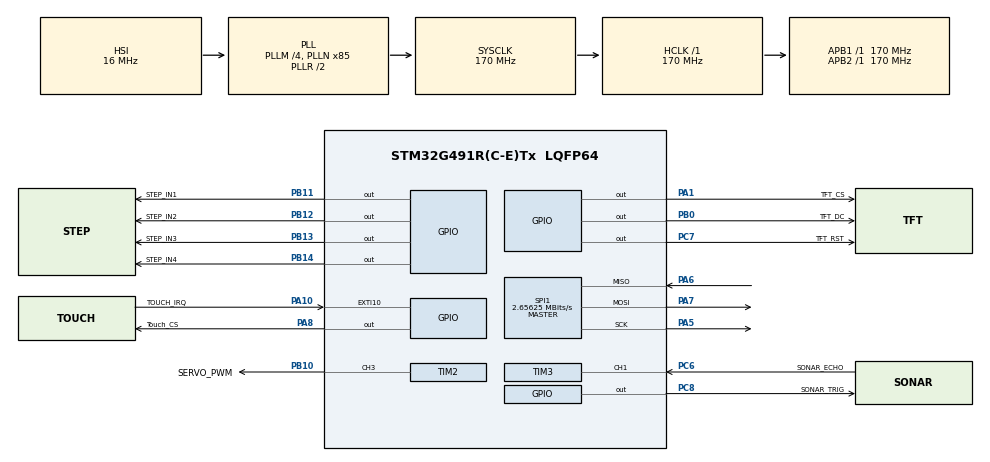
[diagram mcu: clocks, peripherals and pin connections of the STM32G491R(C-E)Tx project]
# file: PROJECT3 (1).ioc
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Dma.Request0=SPI1_TX
Dma.Request1=SPI1_RX
Dma.SPI1_RX.1.Direction=DMA_PERIPH_TO_MEMORY
Dma.SPI1_RX.1.EventEnable=DISABLE
Dma.SPI1_RX.1.Instance=DMA1_Channel2
Dma.SPI1_RX.1.MemDataAlignment=DMA_MDATAALIGN_BYTE
Dma.SPI1_RX.1.MemInc=DMA_MINC_ENABLE
Dma.SPI1_RX.1.Mode=DMA_NORMAL
Dma.SPI1_RX.1.PeriphDataAlignment=DMA_PDATAALIGN_BYTE
Dma.SPI1_RX.1.PeriphInc=DMA_PINC_DISABLE
Dma.SPI1_RX.1.Polarity=HAL_DMAMUX_REQ_GEN_RISING
Dma.SPI1_RX.1.Priority=DMA_PRIORITY_LOW
Dma.SPI1_RX.1.RequestNumber=1
Dma.SPI1_RX.1.SignalID=NONE
Dma.SPI1_RX.1.SyncEnable=DISABLE
Dma.SPI1_RX.1.SyncPolarity=HAL_DMAMUX_SYNC_NO_EVENT
Dma.SPI1_RX.1.SyncRequestNumber=1
Dma.SPI1_RX.1.SyncSignalID=NONE
Dma.SPI1_TX.0.Direction=DMA_MEMORY_TO_PERIPH
Dma.SPI1_TX.0.EventEnable=DISABLE
Dma.SPI1_TX.0.Instance=DMA1_Channel1
Dma.SPI1_TX.0.MemDataAlignment=DMA_MDATAALIGN_BYTE
Dma.SPI1_TX.0.MemInc=DMA_MINC_ENABLE
Dma.SPI1_TX.0.Mode=DMA_NORMAL
Dma.SPI1_TX.0.PeriphDataAlignment=DMA_PDATAALIGN_BYTE
Dma.SPI1_TX.0.PeriphInc=DMA_PINC_DISABLE
Dma.SPI1_TX.0.Polarity=HAL_DMAMUX_REQ_GEN_RISING
Dma.SPI1_TX.0.Priority=DMA_PRIORITY_HIGH
Dma.SPI1_TX.0.RequestNumber=1
Dma.SPI1_TX.0.SignalID=NONE
Dma.SPI1_TX.0.SyncEnable=DISABLE
Dma.SPI1_TX.0.SyncPolarity=HAL_DMAMUX_SYNC_NO_EVENT
Dma.SPI1_TX.0.SyncRequestNumber=1
Dma.SPI1_TX.0.SyncSignalID=NONE
Mcu.Family=STM32G4
Mcu.Name=STM32G491R(C-E)Tx
Mcu.Package=LQFP64
NVIC.DMA1_Channel1_IRQn=true\:0\:0\:false\:false\:true\:false\:true\:true
NVIC.DMA1_Channel2_IRQn=true\:0\:0\:false\:false\:true\:false\:true\:true
NVIC.EXTI15_10_IRQn=true\:0\:0\:false\:false\:true\:true\:true\:true
NVIC.PriorityGroup=NVIC_PRIORITYGROUP_4
NVIC.TIM3_IRQn=true\:0\:0\:false\:false\:true\:true\:true\:true
PA1.GPIO_Label=TFT_CS
PA1.Signal=GPIO_Output
PA10.GPIO_Label=TOUCH_IRQ
PA10.Signal=GPXTI10
PA13.GPIO_Label=T_SWDIO
PA13.Signal=SYS_JTMS-SWDIO
PA14.GPIO_Label=T_SWCLK
PA14.Signal=SYS_JTCK-SWCLK
PA2.GPIO_Label=LPUART1_TX [STLINKV3E_VCP_RX]
PA2.Signal=LPUART1_TX
PA3.GPIO_Label=LPUART1_RX [STLINKV3E_VCP_TX]
PA3.Signal=LPUART1_RX
PA5.Mode=Full_Duplex_Master
PA5.Signal=SPI1_SCK
PA6.Mode=Full_Duplex_Master
PA6.Signal=SPI1_MISO
PA7.Mode=Full_Duplex_Master
PA7.Signal=SPI1_MOSI
PA8.GPIO_Label=Touch_CS
PA8.Signal=GPIO_Output
PB0.GPIO_Label=TFT_DC
PB0.Signal=GPIO_Output
PB10.GPIO_Label=SERVO_PWM
PB10.Signal=S_TIM2_CH3
PB11.GPIO_Label=STEP_IN1
PB11.Signal=GPIO_Output
PB12.GPIO_Label=STEP_IN2
PB12.Signal=GPIO_Output
PB13.GPIO_Label=STEP_IN3
PB13.Signal=GPIO_Output
PB14.GPIO_Label=STEP_IN4
PB14.Signal=GPIO_Output
PB3.GPIO_Label=T_SWO
PB3.Signal=SYS_JTDO-SWO
PC14-OSC32_IN.GPIO_Label=RCC_OSC32_IN
PC14-OSC32_IN.Signal=RCC_OSC32_IN
PC15-OSC32_OUT.GPIO_Label=RCC_OSC32_OUT
PC15-OSC32_OUT.Signal=RCC_OSC32_OUT
PC6.GPIO_Label=SONAR_ECHO
PC6.Signal=S_TIM3_CH1
PC7.GPIO_Label=TFT_RST
PC7.Signal=GPIO_Output
PC8.GPIO_Label=SONAR_TRIG
PC8.Signal=GPIO_Output
PF0-OSC_IN.GPIO_Label=RCC_OSC_IN
PF0-OSC_IN.Signal=RCC_OSC_IN
PF1-OSC_OUT.GPIO_Label=RCC_OSC_OUT
PF1-OSC_OUT.Signal=RCC_OSC_OUT
ProjectManager.HeapSize=0x200
ProjectManager.StackSize=0x400
ProjectManager.TargetToolchain=STM32CubeIDE
RCC.ADC12Freq_Value=170000000
RCC.ADC345Freq_Value=170000000
RCC.AHBFreq_Value=170000000
RCC.APB1Freq_Value=170000000
RCC.APB1TimFreq_Value=170000000
RCC.APB2Freq_Value=170000000
RCC.APB2TimFreq_Value=170000000
RCC.CortexFreq_Value=170000000
RCC.EXTERNAL_CLOCK_VALUE=12288000
RCC.HCLKFreq_Value=170000000
RCC.HSE_VALUE=24000000
RCC.HSI48_VALUE=48000000
RCC.HSI_VALUE=16000000
RCC.LSE_VALUE=32768
RCC.PLLM=RCC_PLLM_DIV4
RCC.PLLN=85
RCC.RTCClockSelection=RCC_RTCCLKSOURCE_LSE
RCC.SYSCLKFreq_VALUE=170000000
RCC.SYSCLKSource=RCC_SYSCLKSOURCE_PLLCLK
RCC.USBFreq_Value=48000000
RCC.VCOOutputFreq_Value=340000000
SH.S_TIM2_CH3.0=TIM2_CH3,PWM Generation3 CH3
SH.S_TIM3_CH1.0=TIM3_CH1,Input_Capture1_from_TI1
SPI1.BaudRatePrescaler=SPI_BAUDRATEPRESCALER_64
SPI1.CalculateBaudRate=2.65625 MBits/s
SPI1.DataSize=SPI_DATASIZE_8BIT
SPI1.Direction=SPI_DIRECTION_2LINES
SPI1.Mode=SPI_MODE_MASTER
SPI1.VirtualType=VM_MASTER
TIM2.Channel-PWM\ Generation3\ CH3=TIM_CHANNEL_3
TIM2.PeriodNoDither=19999
TIM2.Prescaler=169
TIM3.Channel-Input_Capture1_from_TI1=TIM_CHANNEL_1
TIM3.ICPolarity_CH1=TIM_INPUTCHANNELPOLARITY_BOTHEDGE
TIM3.Prescaler=169
VP_SYS_VS_DBSignals.Mode=DisableDeadBatterySignals
VP_TIM2_VS_ClockSourceINT.Mode=Internal
board=NUCLEO-G491RE

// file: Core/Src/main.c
/* USER CODE BEGIN Header */
/**
  ******************************************************************************
  * @file           : main.c
  * @brief          : Main program body
  ******************************************************************************
  * @attention
  *
  * Copyright (c) 2026 STMicroelectronics.
  * All rights reserved.
  *
  * This software is licensed under terms that can be found in the LICENSE file
  * in the root directory of this software component.
  * If no LICENSE file comes with this software, it is provided AS-IS.
  *
  ******************************************************************************
  */
/* USER CODE END Header */
#include "main.h"

/* USER CODE BEGIN Includes */
#include "ili9341.h"
#include "xpt2046.h"
#include "gui_screens.h"
#include "sonar.h"
#include "servo.h"
#include "stepper.h"
/* USER CODE END Includes */

/* USER CODE BEGIN PTD */
typedef struct {
  uint16_t angle;
  int32_t steps;
} CalibrationPoint_t;

typedef struct {
  uint32_t magic;
  uint32_t version;
  GUI_ScanConfig_t config;
  CalibrationPoint_t calibration[3];
  uint32_t checksum;
  uint32_t reserved;
} AppFlashData_t;
/* USER CODE END PTD */

/* USER CODE BEGIN PD */
#define FLASH_CALIB_ADDR       0x0807F800U
#define FLASH_CALIB_PAGE       255U
#define APP_FLASH_MAGIC        0x33505753U
#define APP_FLASH_VERSION      1U
#define GRAPH_TOP              60U
#define GRAPH_HEIGHT           170U
#define GRAPH_WIDTH            320U
#define BAR_WIDTH              10U
#define SCAN_STEP_DEG          5U
#define SONAR_TIMEOUT_MS       45U
#define SONAR_MAX_CM           200.0f
#define SONAR_INVALID_CM       999.0f
/* USER CODE END PD */

SPI_HandleTypeDef hspi1;
DMA_HandleTypeDef hdma_spi1_tx;
DMA_HandleTypeDef hdma_spi1_rx;

TIM_HandleTypeDef htim2;
TIM_HandleTypeDef htim3;

/* USER CODE BEGIN PV */
static CalibrationPoint_t calibration[3] = {
  { 0, 0 },
  { 90, 1024 },
  { 180, 2048 }
};
static int32_t pointer_step_position = 1024;

static uint8_t scan_active = 0;
static uint16_t scan_angle = 0;
static uint16_t sample_angle = 0;
static int8_t scan_direction = 1;
static uint32_t last_sample_tick = 0;
static float filtered_dist = 0.0f;
static uint8_t filter_has_value = 0;
static float closest_dist = SONAR_INVALID_CM;
static uint16_t closest_angle = 90;
/* USER CODE END PV */

void SystemClock_Config(void);
static void MX_GPIO_Init(void);
static void MX_DMA_Init(void);
static void MX_SPI1_Init(void);
static void MX_TIM2_Init(void);
static void MX_TIM3_Init(void);
/* USER CODE BEGIN PFP */
static void App_LoadSettingsFromFlash(void);
static HAL_StatusTypeDef App_SaveSettingsToFlash(void);
static void App_StartScan(void);
static void App_RunScanTask(uint32_t now);
static void App_StopScan(void);
static void App_HandleCalibration(void);
static void App_MovePointerToAngle(uint16_t angle);
/* USER CODE END PFP */

/* USER CODE BEGIN 0 */
// generate simple checksum for flash data validation
static uint32_t App_Checksum(const AppFlashData_t *data) {
  uint32_t checksum = data->magic ^ data->version;
  checksum ^= data->config.min_angle;
  checksum ^= ((uint32_t)data->config.max_angle << 16);
  checksum ^= data->config.sweep_time_s;

  for (uint8_t i = 0; i < 3U; i++) {
    checksum ^= data->calibration[i].angle;
    checksum ^= (uint32_t)data->calibration[i].steps;
  }
  return checksum;
}

// package up current settings for flash storage
static void App_CopyFlashData(AppFlashData_t *data) {
  const GUI_ScanConfig_t *config = GUI_GetScanConfig();

  data->magic = APP_FLASH_MAGIC;
  data->version = APP_FLASH_VERSION;
  data->config = *config;
  data->calibration[0] = calibration[0];
  data->calibration[1] = calibration[1];
  data->calibration[2] = calibration[2];
  data->reserved = 0U;
  data->checksum = App_Checksum(data);
}

// verify flash data hasnt been corrupted
static uint8_t App_FlashDataIsValid(const AppFlashData_t *data) {
  if (data->magic != APP_FLASH_MAGIC || data->version != APP_FLASH_VERSION) return 0;
  if (data->config.max_angle > SERVO_MAX_POSITION ||
      data->config.min_angle >= data->config.max_angle) return 0;
  return (data->checksum == App_Checksum(data));
}

// try loading existing settings from memory
static void App_LoadSettingsFromFlash(void) {
  const AppFlashData_t *stored = (const AppFlashData_t *)FLASH_CALIB_ADDR;
  if (App_FlashDataIsValid(stored)) {
    GUI_SetScanConfig(&stored->config);
    calibration[0] = stored->calibration[0];
    calibration[1] = stored->calibration[1];
    calibration[2] = stored->calibration[2];
    pointer_step_position = calibration[1].steps;
  }
}

// write settings to flash
static HAL_StatusTypeDef App_SaveSettingsToFlash(void) {
  FLASH_EraseInitTypeDef erase = {0};
  AppFlashData_t data = {0};
  uint32_t page_error = 0;
  HAL_StatusTypeDef status;

  App_CopyFlashData(&data);
  HAL_FLASH_Unlock();

  erase.TypeErase = FLASH_TYPEERASE_PAGES;
  erase.Banks = FLASH_BANK_1;
  erase.Page = FLASH_CALIB_PAGE;
  erase.NbPages = 1;

  status = HAL_FLASHEx_Erase(&erase, &page_error);
  if (status == HAL_OK) {
    const uint64_t *words = (const uint64_t *)&data;
    for (uint32_t i = 0; i < (sizeof(AppFlashData_t) / 8U); i++) {
      status = HAL_FLASH_Program(FLASH_TYPEPROGRAM_DOUBLEWORD, FLASH_CALIB_ADDR + (i * 8U), words[i]);
      if (status != HAL_OK) break;
    }
  }
  HAL_FLASH_Lock();
  return status;
}

static float App_AbsFloat(float value) {
  return (value < 0.0f) ? -value : value;
}

static uint16_t App_ClampAngle(uint16_t angle) {
  return (angle > SERVO_MAX_POSITION) ? SERVO_MAX_POSITION : angle;
}

static void App_SetCalibrationAngles(void) {
  const GUI_ScanConfig_t *config = GUI_GetScanConfig();
  calibration[0].angle = App_ClampAngle(config->min_angle);
  calibration[1].angle = App_ClampAngle((uint16_t)((config->min_angle + config->max_angle) / 2U));
  calibration[2].angle = App_ClampAngle(config->max_angle);
}

// map servo degrees to stepper motor steps
static int32_t App_InterpolateSteps(uint16_t angle) {
  CalibrationPoint_t left, right;
  if (angle <= calibration[1].angle) { left = calibration[0]; right = calibration[1]; }
  else { left = calibration[1]; right = calibration[2]; }

  if (right.angle == left.angle) return left.steps;
  return left.steps + (((int32_t)(angle - left.angle) * (right.steps - left.steps)) / (int32_t)(right.angle - left.angle));
}

static void App_MovePointerToSteps(int32_t target_steps) {
  int32_t delta = target_steps - pointer_step_position;
  if (delta > 0) Stepper_Move(1, (uint32_t)delta);
  else if (delta < 0) Stepper_Move(-1, (uint32_t)(-delta));
  pointer_step_position = target_steps;
}

static void App_MovePointerToAngle(uint16_t angle) {
  App_MovePointerToSteps(App_InterpolateSteps(angle));
}

// draw a single sonar bar on screen
static void App_DrawSample(uint16_t angle, float distance_cm, uint8_t is_closest) {

  const GUI_ScanConfig_t *config = GUI_GetScanConfig();
  uint16_t range = config->max_angle - config->min_angle;
  uint16_t x = 0;
  if (range != 0U) x = (uint16_t)(((uint32_t)(angle - config->min_angle) * (GRAPH_WIDTH - BAR_WIDTH)) / range);

  if (distance_cm > SONAR_MAX_CM) distance_cm = SONAR_MAX_CM;

  uint16_t bar_height = (uint16_t)(((SONAR_MAX_CM - distance_cm) * (float)GRAPH_HEIGHT) / SONAR_MAX_CM);

  if (bar_height > GRAPH_HEIGHT) bar_height = GRAPH_HEIGHT;

  uint16_t color = is_closest ? ILI9341_RED : ILI9341_GREEN;

  HAL_GPIO_WritePin(TFT_CS_GPIO_Port, TFT_CS_Pin, GPIO_PIN_RESET);

  ILI9341_FillRect(x, GRAPH_TOP, BAR_WIDTH, GRAPH_HEIGHT, ILI9341_BLACK);
  ILI9341_FillRect(x, (uint16_t)(GRAPH_TOP + GRAPH_HEIGHT - bar_height), BAR_WIDTH, bar_height, color);

  ILI9341_FillRect(260, 10, 50, 40, ILI9341_RED); // keep stop button visible
  HAL_GPIO_WritePin(TFT_CS_GPIO_Port, TFT_CS_Pin, GPIO_PIN_SET);
}

static uint32_t App_SamplePeriodMs(void) {
  const GUI_ScanConfig_t *config = GUI_GetScanConfig();
  uint16_t range = config->max_angle - config->min_angle;
  uint16_t samples = (range / SCAN_STEP_DEG) < 1U ? 1U : (range / SCAN_STEP_DEG);
  return ((uint32_t)config->sweep_time_s * 1000U) / samples;
}

static void App_StartScan(void) {
  App_SetCalibrationAngles();
  scan_active = 1;

  scan_angle = App_ClampAngle(GUI_GetScanConfig()->min_angle);
  sample_angle = scan_angle;

  scan_direction = 1;
  last_sample_tick = 0;
  filtered_dist = 0.0f; filter_has_value = 0;
  closest_dist = SONAR_INVALID_CM; closest_angle = scan_angle;

  HAL_GPIO_WritePin(TFT_CS_GPIO_Port, TFT_CS_Pin, GPIO_PIN_RESET);
  ILI9341_FillRect(0, GRAPH_TOP, GRAPH_WIDTH, GRAPH_HEIGHT, ILI9341_BLACK);
  HAL_GPIO_WritePin(TFT_CS_GPIO_Port, TFT_CS_Pin, GPIO_PIN_SET);
}

static void App_StopScan(void) {
  scan_active = 0;
  Sonar_ResetFlag();
  Servo_SetPosition(90);
}

static void App_AdvanceScanAngle(void) {
  const GUI_ScanConfig_t *config = GUI_GetScanConfig();
  if (scan_direction > 0) {
    if ((scan_angle + SCAN_STEP_DEG) >= config->max_angle) {

      scan_angle = config->max_angle; scan_direction = -1;
      App_MovePointerToAngle(closest_angle);
      closest_dist = SONAR_INVALID_CM;
    } else scan_angle += SCAN_STEP_DEG;
  } else {
    if (scan_angle <= (config->min_angle + SCAN_STEP_DEG)) {
      scan_angle = config->min_angle; scan_direction = 1;

      App_MovePointerToAngle(closest_angle);

      closest_dist = SONAR_INVALID_CM;
    } else scan_angle -= SCAN_STEP_DEG;
  }
}

static void App_ProcessSonarSample(void) {
  float distance = Sonar_GetDist();
  uint8_t is_closest = 0;
  Sonar_ResetFlag();

  if (distance < 2.0f || distance > 400.0f) return;
  // ema filter
  if (filter_has_value != 0U && App_AbsFloat(distance - filtered_dist) > 80.0f) return;

  if (filter_has_value == 0U) { filtered_dist = distance; filter_has_value = 1; }
  else { filtered_dist = (0.7f * filtered_dist) + (0.3f * distance); }

  if (filtered_dist < closest_dist) {
    closest_dist = filtered_dist; closest_angle = sample_angle; is_closest = 1;
  }
  App_DrawSample(sample_angle, filtered_dist, is_closest);
}

static void App_RunScanTask(uint32_t now) {
  if (Sonar_IsReady()) App_ProcessSonarSample();
  else if (Sonar_HasTimedOut()) Sonar_ResetFlag();

  if (Sonar_IsBusy() != 0U) return;

  if (last_sample_tick == 0U || (now - last_sample_tick) >= App_SamplePeriodMs()) {
    Servo_SetPosition(scan_angle);
    if (Sonar_StartReading(SONAR_TIMEOUT_MS) == HAL_OK) {
      sample_angle = scan_angle; last_sample_tick = now;
      App_AdvanceScanAngle();
    }
  }
}

static void App_HandleCalibration(void) {
  uint8_t index = GUI_GetCalibrationIndex();
  int16_t delta = GUI_TakeStepperDelta();

  if (GUI_TakeCalibrationChanged() != 0U) {
    App_SetCalibrationAngles();
    Servo_SetPosition(calibration[index].angle);
    App_MovePointerToSteps(calibration[index].steps);
  }

  if (delta != 0) {
    App_MovePointerToSteps(pointer_step_position + delta);
    calibration[index].steps = pointer_step_position;
  }
}
/* USER CODE END 0 */

int main(void)
{

  /* USER CODE BEGIN 1 */
  GUI_State_t previous_state = GUI_STATE_CONFIG;
  /* USER CODE END 1 */

  /* MCU Configuration--------------------------------------------------------*/

  /* Reset of all peripherals, Initializes the Flash interface and the Systick. */
  HAL_Init();

  /* Configure the system clock */
  SystemClock_Config();

  /* Initialize all configured peripherals */
  MX_GPIO_Init();
  MX_DMA_Init();
  MX_SPI1_Init();
  MX_TIM2_Init();
  MX_TIM3_Init();
  /* USER CODE BEGIN 2 */
  HAL_GPIO_WritePin(TFT_CS_GPIO_Port, TFT_CS_Pin, GPIO_PIN_SET);
  HAL_GPIO_WritePin(TOUCH_CS_GPIO_Port, TOUCH_CS_Pin, GPIO_PIN_SET);

  ILI9341_Init(&hspi1);
  XPT2046_Init(&hspi1);
  Sonar_Init(&htim3, TIM_CHANNEL_1);
  Servo_Init(&htim2, TIM_CHANNEL_3);
  Stepper_Init();
  Stepper_SetDelayMs(2);

  App_LoadSettingsFromFlash();
  GUI_Init();
  /* USER CODE END 2 */

  /* Infinite loop */
  /* USER CODE BEGIN WHILE */
  while (1)
  {
    uint32_t now = HAL_GetTick();
    GUI_State_t state;

    XPT2046_Task();
    GUI_Task();
    state = GUI_GetState();

    // handle state switch
    if (state != previous_state) {
      if (state == GUI_STATE_RUN) App_StartScan();
      else if (previous_state == GUI_STATE_RUN) App_StopScan();
      else if (state == GUI_STATE_CALIBRATE) {
        App_SetCalibrationAngles();
        Servo_SetPosition(calibration[GUI_GetCalibrationIndex()].angle);
        App_MovePointerToSteps(calibration[GUI_GetCalibrationIndex()].steps);
      }
      previous_state = state;
    }

    if (gui_save_requested != 0U) {
      App_SaveSettingsToFlash();
      gui_save_requested = 0;
    }

    // run tasks
    if (state == GUI_STATE_RUN && GUI_IsPaused() == 0U) App_RunScanTask(now);
    else if (state == GUI_STATE_CALIBRATE) App_HandleCalibration();
    else if (scan_active != 0U) App_StopScan();
  }
    /* USER CODE END WHILE */

  }
}

void SystemClock_Config(void)
{
  RCC_OscInitTypeDef RCC_OscInitStruct = {0};
  RCC_ClkInitTypeDef RCC_ClkInitStruct = {0};

  /** Configure the main internal regulator output voltage
  */
  HAL_PWREx_ControlVoltageScaling(PWR_REGULATOR_VOLTAGE_SCALE1_BOOST);

  /** Initializes the RCC Oscillators according to the specified parameters
  * in the RCC_OscInitTypeDef structure.
  */
  RCC_OscInitStruct.OscillatorType = RCC_OSCILLATORTYPE_HSI;
  RCC_OscInitStruct.HSIState = RCC_HSI_ON;
  RCC_OscInitStruct.HSICalibrationValue = RCC_HSICALIBRATION_DEFAULT;
  RCC_OscInitStruct.PLL.PLLState = RCC_PLL_ON;
  RCC_OscInitStruct.PLL.PLLSource = RCC_PLLSOURCE_HSI;
  RCC_OscInitStruct.PLL.PLLM = RCC_PLLM_DIV4;
  RCC_OscInitStruct.PLL.PLLN = 85;
  RCC_OscInitStruct.PLL.PLLP = RCC_PLLP_DIV2;
  RCC_OscInitStruct.PLL.PLLQ = RCC_PLLQ_DIV2;
  RCC_OscInitStruct.PLL.PLLR = RCC_PLLR_DIV2;
  if (HAL_RCC_OscConfig(&RCC_OscInitStruct) != HAL_OK)
  {
    Error_Handler();
  }

  /** Initializes the CPU, AHB and APB buses clocks
  */
  RCC_ClkInitStruct.ClockType = RCC_CLOCKTYPE_HCLK|RCC_CLOCKTYPE_SYSCLK
                              |RCC_CLOCKTYPE_PCLK1|RCC_CLOCKTYPE_PCLK2;
  RCC_ClkInitStruct.SYSCLKSource = RCC_SYSCLKSOURCE_PLLCLK;
  RCC_ClkInitStruct.AHBCLKDivider = RCC_SYSCLK_DIV1;
  RCC_ClkInitStruct.APB1CLKDivider = RCC_HCLK_DIV1;
  RCC_ClkInitStruct.APB2CLKDivider = RCC_HCLK_DIV1;

  if (HAL_RCC_ClockConfig(&RCC_ClkInitStruct, FLASH_LATENCY_4) != HAL_OK)
  {
    Error_Handler();
  }
}

static void MX_SPI1_Init(void)
{

  /* SPI1 parameter configuration*/
  hspi1.Instance = SPI1;
  hspi1.Init.Mode = SPI_MODE_MASTER;
  hspi1.Init.Direction = SPI_DIRECTION_2LINES;
  hspi1.Init.DataSize = SPI_DATASIZE_8BIT;
  hspi1.Init.CLKPolarity = SPI_POLARITY_LOW;
  hspi1.Init.CLKPhase = SPI_PHASE_1EDGE;
  hspi1.Init.NSS = SPI_NSS_SOFT;
  hspi1.Init.BaudRatePrescaler = SPI_BAUDRATEPRESCALER_64;
  hspi1.Init.FirstBit = SPI_FIRSTBIT_MSB;
  hspi1.Init.TIMode = SPI_TIMODE_DISABLE;
  hspi1.Init.CRCCalculation = SPI_CRCCALCULATION_DISABLE;
  hspi1.Init.CRCPolynomial = 7;
  hspi1.Init.CRCLength = SPI_CRC_LENGTH_DATASIZE;
  hspi1.Init.NSSPMode = SPI_NSS_PULSE_ENABLE;
  if (HAL_SPI_Init(&hspi1) != HAL_OK)
  {
    Error_Handler();
  }

}

static void MX_TIM2_Init(void)
{

  TIM_ClockConfigTypeDef sClockSourceConfig = {0};
  TIM_MasterConfigTypeDef sMasterConfig = {0};
  TIM_OC_InitTypeDef sConfigOC = {0};

  htim2.Instance = TIM2;
  htim2.Init.Prescaler = 169;
  htim2.Init.CounterMode = TIM_COUNTERMODE_UP;
  htim2.Init.Period = 19999;
  htim2.Init.ClockDivision = TIM_CLOCKDIVISION_DIV1;
  htim2.Init.AutoReloadPreload = TIM_AUTORELOAD_PRELOAD_DISABLE;
  if (HAL_TIM_Base_Init(&htim2) != HAL_OK)
  {
    Error_Handler();
  }
  sClockSourceConfig.ClockSource = TIM_CLOCKSOURCE_INTERNAL;
  if (HAL_TIM_ConfigClockSource(&htim2, &sClockSourceConfig) != HAL_OK)
  {
    Error_Handler();
  }
  if (HAL_TIM_PWM_Init(&htim2) != HAL_OK)
  {
    Error_Handler();
  }
  sMasterConfig.MasterOutputTrigger = TIM_TRGO_RESET;
  sMasterConfig.MasterSlaveMode = TIM_MASTERSLAVEMODE_DISABLE;
  if (HAL_TIMEx_MasterConfigSynchronization(&htim2, &sMasterConfig) != HAL_OK)
  {
    Error_Handler();
  }
  sConfigOC.OCMode = TIM_OCMODE_PWM1;
  sConfigOC.Pulse = 0;
  sConfigOC.OCPolarity = TIM_OCPOLARITY_HIGH;
  sConfigOC.OCFastMode = TIM_OCFAST_DISABLE;
  if (HAL_TIM_PWM_ConfigChannel(&htim2, &sConfigOC, TIM_CHANNEL_3) != HAL_OK)
  {
    Error_Handler();
  }
  HAL_TIM_MspPostInit(&htim2);

}

static void MX_TIM3_Init(void)
{

  TIM_MasterConfigTypeDef sMasterConfig = {0};
  TIM_IC_InitTypeDef sConfigIC = {0};

  htim3.Instance = TIM3;
  htim3.Init.Prescaler = 169;
  htim3.Init.CounterMode = TIM_COUNTERMODE_UP;
  htim3.Init.Period = 65535;
  htim3.Init.ClockDivision = TIM_CLOCKDIVISION_DIV1;
  htim3.Init.AutoReloadPreload = TIM_AUTORELOAD_PRELOAD_DISABLE;
  if (HAL_TIM_IC_Init(&htim3) != HAL_OK)
  {
    Error_Handler();
  }
  sMasterConfig.MasterOutputTrigger = TIM_TRGO_RESET;
  sMasterConfig.MasterSlaveMode = TIM_MASTERSLAVEMODE_DISABLE;
  if (HAL_TIMEx_MasterConfigSynchronization(&htim3, &sMasterConfig) != HAL_OK)
  {
    Error_Handler();
  }
  sConfigIC.ICPolarity = TIM_INPUTCHANNELPOLARITY_BOTHEDGE;
  sConfigIC.ICSelection = TIM_ICSELECTION_DIRECTTI;
  sConfigIC.ICPrescaler = TIM_ICPSC_DIV1;
  sConfigIC.ICFilter = 0;
  if (HAL_TIM_IC_ConfigChannel(&htim3, &sConfigIC, TIM_CHANNEL_1) != HAL_OK)
  {
    Error_Handler();
  }

}

static void MX_DMA_Init(void)
{

  /* DMA controller clock enable */
  __HAL_RCC_DMAMUX1_CLK_ENABLE();
  __HAL_RCC_DMA1_CLK_ENABLE();

  /* DMA interrupt init */
  /* DMA1_Channel1_IRQn interrupt configuration */
  HAL_NVIC_SetPriority(DMA1_Channel1_IRQn, 0, 0);
  HAL_NVIC_EnableIRQ(DMA1_Channel1_IRQn);
  /* DMA1_Channel2_IRQn interrupt configuration */
  HAL_NVIC_SetPriority(DMA1_Channel2_IRQn, 0, 0);
  HAL_NVIC_EnableIRQ(DMA1_Channel2_IRQn);

}

static void MX_GPIO_Init(void)
{
  GPIO_InitTypeDef GPIO_InitStruct = {0};

  /* GPIO Ports Clock Enable */
  __HAL_RCC_GPIOC_CLK_ENABLE();
  __HAL_RCC_GPIOF_CLK_ENABLE();
  __HAL_RCC_GPIOA_CLK_ENABLE();
  __HAL_RCC_GPIOB_CLK_ENABLE();

  /*Configure GPIO pin Output Level */
  HAL_GPIO_WritePin(GPIOA, TFT_CS_Pin|Touch_CS_Pin, GPIO_PIN_RESET);

  /*Configure GPIO pin Output Level */
  HAL_GPIO_WritePin(GPIOB, TFT_DC_Pin|STEP_IN1_Pin|STEP_IN2_Pin|STEP_IN3_Pin
                          |STEP_IN4_Pin, GPIO_PIN_RESET);

  /*Configure GPIO pin Output Level */
  HAL_GPIO_WritePin(GPIOC, TFT_RST_Pin|SONAR_TRIG_Pin, GPIO_PIN_RESET);

  /*Configure GPIO pins : TFT_CS_Pin Touch_CS_Pin */
  GPIO_InitStruct.Pin = TFT_CS_Pin|Touch_CS_Pin;
  GPIO_InitStruct.Mode = GPIO_MODE_OUTPUT_PP;
  GPIO_InitStruct.Pull = GPIO_NOPULL;
  GPIO_InitStruct.Speed = GPIO_SPEED_FREQ_LOW;
  HAL_GPIO_Init(GPIOA, &GPIO_InitStruct);

  /*Configure GPIO pins : LPUART1_TX_Pin LPUART1_RX_Pin */
  GPIO_InitStruct.Pin = LPUART1_TX_Pin|LPUART1_RX_Pin;
  GPIO_InitStruct.Mode = GPIO_MODE_AF_PP;
  GPIO_InitStruct.Pull = GPIO_NOPULL;
  GPIO_InitStruct.Speed = GPIO_SPEED_FREQ_LOW;
  GPIO_InitStruct.Alternate = GPIO_AF12_LPUART1;
  HAL_GPIO_Init(GPIOA, &GPIO_InitStruct);

  /*Configure GPIO pins : TFT_DC_Pin STEP_IN1_Pin STEP_IN2_Pin STEP_IN3_Pin
                           STEP_IN4_Pin */
  GPIO_InitStruct.Pin = TFT_DC_Pin|STEP_IN1_Pin|STEP_IN2_Pin|STEP_IN3_Pin
                          |STEP_IN4_Pin;
  GPIO_InitStruct.Mode = GPIO_MODE_OUTPUT_PP;
  GPIO_InitStruct.Pull = GPIO_NOPULL;
  GPIO_InitStruct.Speed = GPIO_SPEED_FREQ_LOW;
  HAL_GPIO_Init(GPIOB, &GPIO_InitStruct);

  /*Configure GPIO pins : TFT_RST_Pin SONAR_TRIG_Pin */
  GPIO_InitStruct.Pin = TFT_RST_Pin|SONAR_TRIG_Pin;
  GPIO_InitStruct.Mode = GPIO_MODE_OUTPUT_PP;
  GPIO_InitStruct.Pull = GPIO_NOPULL;
  GPIO_InitStruct.Speed = GPIO_SPEED_FREQ_LOW;
  HAL_GPIO_Init(GPIOC, &GPIO_InitStruct);

  /*Configure GPIO pin : TOUCH_IRQ_Pin */
  GPIO_InitStruct.Pin = TOUCH_IRQ_Pin;
  GPIO_InitStruct.Mode = GPIO_MODE_IT_RISING;
  GPIO_InitStruct.Pull = GPIO_NOPULL;
  HAL_GPIO_Init(TOUCH_IRQ_GPIO_Port, &GPIO_InitStruct);

  /* EXTI interrupt init*/
  HAL_NVIC_SetPriority(EXTI15_10_IRQn, 0, 0);
  HAL_NVIC_EnableIRQ(EXTI15_10_IRQn);

}

/* USER CODE BEGIN 4 */
void HAL_GPIO_EXTI_Callback(uint16_t GPIO_Pin) {
  if (GPIO_Pin == TOUCH_IRQ_Pin) {
    XPT2046_EXTI_Callback(GPIO_Pin);
  }
}

void HAL_TIM_IC_CaptureCallback(TIM_HandleTypeDef *htim) {
  Sonar_IC_CaptureCallback(htim);
}
/* USER CODE END 4 */

void Error_Handler(void)
{
  __disable_irq();
  while (1)
  {
  }
}
#ifdef USE_FULL_ASSERT
/**
  * @brief  Reports the name of the source file and the source line number
  *         where the assert_param error has occurred.
  * @param  file: pointer to the source file name
  * @param  line: assert_param error line source number
  * @retval None
  */
void assert_failed(uint8_t *file, uint32_t line)
{
  /* USER CODE BEGIN 6 */
  (void)file;
  (void)line;
  /* USER CODE END 6 */
}
#endif /* USE_FULL_ASSERT */
